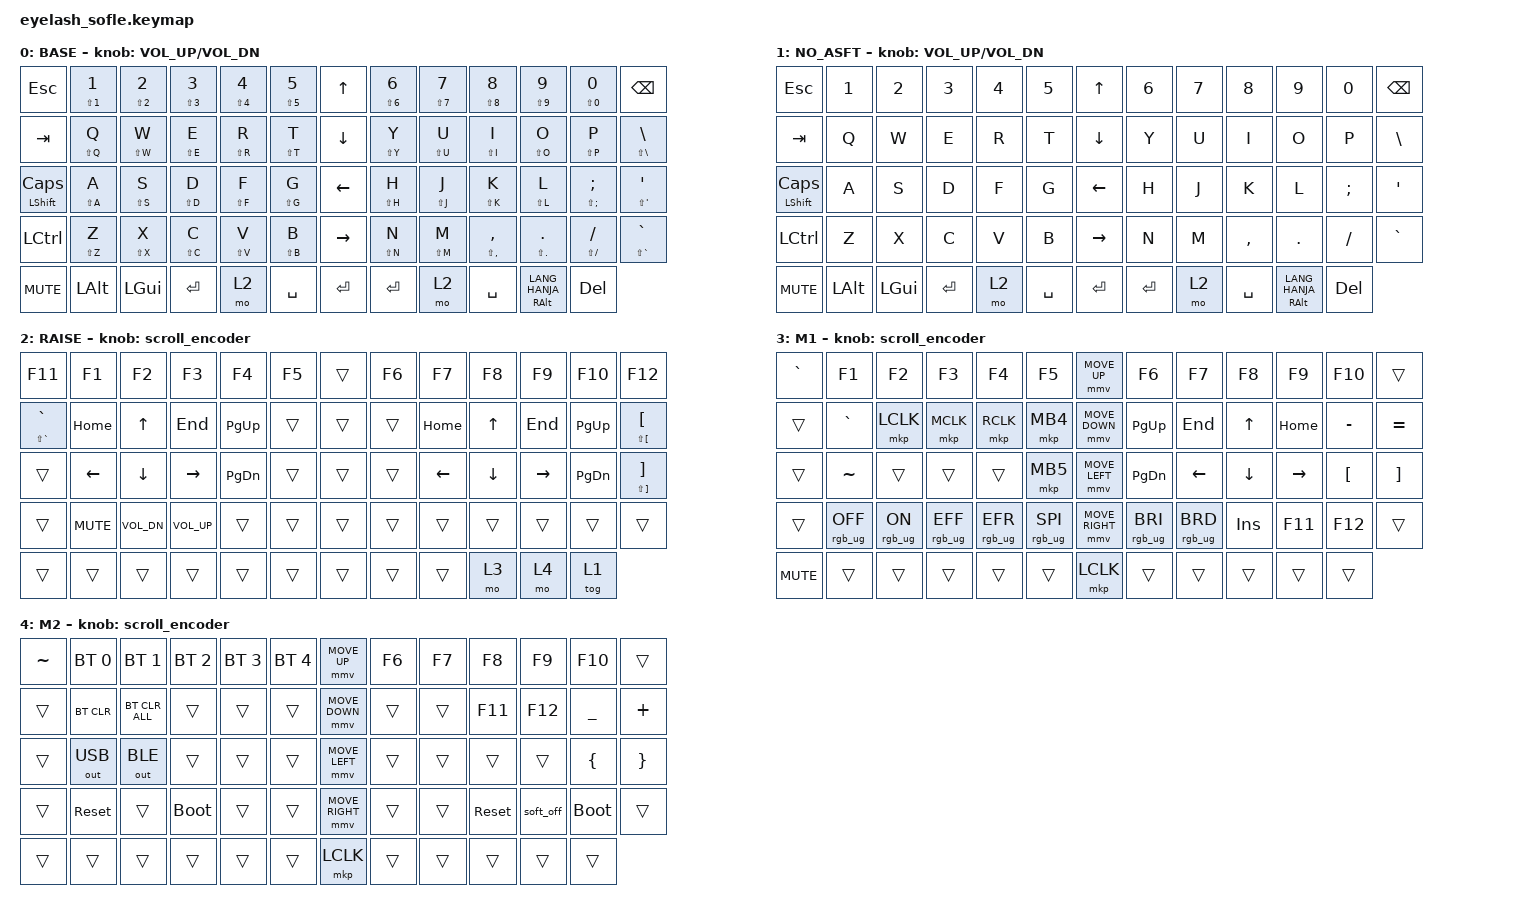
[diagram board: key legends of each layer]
#define ZMK_POINTING_DEFAULT_MOVE_VAL 1200  // 600
#define ZMK_POINTING_DEFAULT_SCRL_VAL 35    // 10

#include <input/processors.dtsi>
#include <zephyr/dt-bindings/input/input-event-codes.h>
#include <behaviors.dtsi>
#include <dt-bindings/zmk/bt.h>
#include <dt-bindings/zmk/keys.h>
#include <dt-bindings/zmk/outputs.h>
#include <dt-bindings/zmk/pointing.h>
#include <dt-bindings/zmk/rgb.h>

/ {
    zip_scroll_scaler: zip_scroll_scaler {
        compatible = "zmk,input-processor-scaler";
        #input-processor-cells = <2>;
        type = <INPUT_EV_REL>;
        codes = <INPUT_REL_WHEEL INPUT_REL_HWHEEL>;
        track-remainders;
    };
};

&mmv_input_listener { input-processors = <&zip_xy_scaler 2 1>; };

&msc_input_listener { input-processors = <&zip_scroll_scaler 2 1>; };

&msc {
    acceleration-exponent = <0>;      // 0
    time-to-max-speed-ms = <0>;       // 300
    delay-ms = <0>;                   // 0
};

&mmv {
    time-to-max-speed-ms = <400>;
    acceleration-exponent = <1>;
};

/ {
    scroll_encoder: scroll_encoder {
        compatible = "zmk,behavior-sensor-rotate";
        #sensor-binding-cells = <0>;
        bindings = <&msc SCRL_DOWN>, <&msc SCRL_UP>;

        tap-ms = <30>;
    };

    TD_CAPS_LSFT: TD_CAPS_LSFT {
        compatible = "zmk,behavior-tap-dance";
        label = "TD_CAPS_LSFT";
        #binding-cells = <0>;
        bindings = <&kp CAPS>, <&kp LSHIFT>;
    };

    HT_AS: HT_AS {
        compatible = "zmk,behavior-hold-tap";
        label = "HT_AS";
        bindings = <&kp>, <&kp>;

        #binding-cells = <2>;
        tapping-term-ms = <200>;
        flavor = "hold-preferred";
    };

    behaviors {
        as: auto_shift {
            compatible = "zmk,behavior-hold-tap";
            #binding-cells = <2>;
            tapping_term_ms = <220>;
            quick_tap_ms = <0>;
            flavor = "tap-preferred";
            bindings = <&kp>, <&kp>;
        };
    };

    combos {
        compatible = "zmk,combos";

        softoff {
            bindings = <&soft_off>;
            key-positions = <14 28 40>;
        };

        CB_ENT {
            bindings = <&kp ENTER>;
            key-positions = <47 48>;
        };

        CB_EQUAL {
            bindings = <&as LS(EQUAL) EQUAL>;
            key-positions = <22 23>;
        };

        CB_MINUS {
            bindings = <&as LS(MINUS) MINUS>;
            key-positions = <35 36>;
        };

        CB_SCRIPTLET_O {
            bindings = <&MC_SCRIPTLET_O>;
            key-positions = <48 50>;
        };

        CB_SCRIPTLET_C {
            bindings = <&MC_SCRIPTLET_C>;
            key-positions = <49 50>;
        };

        CB_LANG {
            bindings = <&as LANG_HANJA RALT>;
            key-positions = <29 30>;
            timeout-ms = <60>;
        };

        CB_BKSP {
            bindings = <&kp BACKSPACE>;
            key-positions = <34 35>;
        };

        CB_DEL {
            bindings = <&kp DEL>;
            key-positions = <21 22>;
        };
    };

    macros {
        MC_SCRIPTLET_O: MC_SCRIPTLET_O {
            compatible = "zmk,behavior-macro";
            #binding-cells = <0>;
            bindings = <&kp LT &kp PRCNT>;
            label = "MC_SCRIPTLET_O";
        };

        MC_SCRIPTLET_C: MC_SCRIPTLET_C {
            compatible = "zmk,behavior-macro";
            #binding-cells = <0>;
            bindings = <&kp PRCNT &kp GT>;
            label = "MC_SCRIPTLET_C";
        };
    };

    keymap {
        compatible = "zmk,keymap";

        BASE {
            bindings = <
&kp ESC             &as LS(N1) N1  &as LS(N2) N2  &as LS(N3) N3  &as LS(N4) N4  &as LS(N5) N5    &kp UP_ARROW     &as LS(N6) N6  &as LS(N7) N7  &as LS(N8) N8        &as LS(N9) N9           &as LS(N0) N0      &kp BACKSPACE
&kp TAB             &as LS(Q) Q    &as LS(W) W    &as LS(E) E    &as LS(R) R    &as LS(T) T      &kp DOWN_ARROW   &as LS(Y) Y    &as LS(U) U    &as LS(I) I          &as LS(O) O             &as LS(P) P        &as LS(BSLH) BSLH
&HT_AS LSHIFT CAPS  &as LS(A) A    &as LS(S) S    &as LS(D) D    &as LS(F) F    &as LS(G) G      &kp LEFT_ARROW   &as LS(H) H    &as LS(J) J    &as LS(K) K          &as LS(L) L             &as LS(SEMI) SEMI  &as LS(APOS) APOS
&kp LCTRL           &as LS(Z) Z    &as LS(X) X    &as LS(C) C    &as LS(V) V    &as LS(B) B      &kp RIGHT_ARROW  &as LS(N) N    &as LS(M) M    &as LS(COMMA) COMMA  &as LS(DOT) DOT         &as LS(FSLH) FSLH  &as LS(GRAVE) GRAVE
&kp C_MUTE          &kp LALT       &kp LEFT_GUI   &kp ENTER      &mo 2          &kp SPACE        &kp ENTER        &kp ENTER      &mo 2          &kp SPACE            &HT_AS RALT LANG_HANJA  &kp DEL
            >;

            sensor-bindings = <&inc_dec_kp C_VOLUME_UP C_VOL_DN>;
            display-name = "BASE";
        };

        NO_ASFT {
            bindings = <
&kp ESC             &kp N1    &kp N2        &kp N3     &kp N4  &kp N5       &kp UP_ARROW     &kp N6     &kp N7  &kp N8     &kp N9                  &kp N0    &kp BACKSPACE
&kp TAB             &kp Q     &kp W         &kp E      &kp R   &kp T        &kp DOWN_ARROW   &kp Y      &kp U   &kp I      &kp O                   &kp P     &kp BSLH
&HT_AS LSHIFT CAPS  &kp A     &kp S         &kp D      &kp F   &kp G        &kp LEFT_ARROW   &kp H      &kp J   &kp K      &kp L                   &kp SEMI  &kp APOS
&kp LCTRL           &kp Z     &kp X         &kp C      &kp V   &kp B        &kp RIGHT_ARROW  &kp N      &kp M   &kp COMMA  &kp DOT                 &kp FSLH  &kp GRAVE
&kp C_MUTE          &kp LALT  &kp LEFT_GUI  &kp ENTER  &mo 2   &kp SPACE    &kp ENTER        &kp ENTER  &mo 2   &kp SPACE  &HT_AS RALT LANG_HANJA  &kp DEL
            >;

            sensor-bindings = <&inc_dec_kp C_VOLUME_UP C_VOL_DN>;
            display-name = "NO_ASFT";
        };

        RAISE {
            bindings = <
&kp F11              &kp F1          &kp F2          &kp F3           &kp F4     &kp F5    &trans  &kp F6  &kp F7    &kp F8    &kp F9     &kp F10      &kp F12
&as LS(GRAVE) GRAVE  &kp HOME        &kp UP_ARROW    &kp END          &kp PG_UP  &trans    &trans  &trans  &kp HOME  &kp UP    &kp END    &kp PAGE_UP  &as LS(LEFT_BRACKET) LEFT_BRACKET
&trans               &kp LEFT_ARROW  &kp DOWN_ARROW  &kp RIGHT_ARROW  &kp PG_DN  &trans    &trans  &trans  &kp LEFT  &kp DOWN  &kp RIGHT  &kp PG_DN    &as LS(RIGHT_BRACKET) RIGHT_BRACKET
&trans               &kp C_MUTE      &kp C_VOL_DN    &kp C_VOL_UP     &trans     &trans    &trans  &trans  &trans    &trans    &trans     &trans       &trans
&trans               &trans          &trans          &trans           &trans     &trans    &trans  &trans  &trans    &mo 3     &mo 4      &tog 1
            >;

            display-name = "RAISE";
            sensor-bindings = <&scroll_encoder>;
        };

        M1 {
            bindings = <
&kp GRAVE   &kp F1           &kp F2          &kp F3           &kp F4           &kp F5             &mmv MOVE_UP     &kp F6           &kp F7           &kp F8      &kp F9     &kp F10           &trans
&trans      &kp GRAVE        &mkp LCLK       &mkp MCLK        &mkp RCLK        &mkp MB4           &mmv MOVE_DOWN   &kp PG_UP        &kp END          &kp UP      &kp HOME   &kp MINUS         &kp EQUAL
&trans      &kp TILDE        &trans          &trans           &trans           &mkp MB5           &mmv MOVE_LEFT   &kp PG_DN        &kp LEFT         &kp DOWN    &kp RIGHT  &kp LEFT_BRACKET  &kp RIGHT_BRACKET
&trans      &rgb_ug RGB_OFF  &rgb_ug RGB_ON  &rgb_ug RGB_EFF  &rgb_ug RGB_EFR  &rgb_ug RGB_SPI    &mmv MOVE_RIGHT  &rgb_ug RGB_BRI  &rgb_ug RGB_BRD  &kp INSERT  &kp F11    &kp F12           &trans
&kp C_MUTE  &trans           &trans          &trans           &trans           &trans             &mkp LCLK        &trans           &trans           &trans      &trans     &trans
            >;

            display-name = "M1";
            sensor-bindings = <&scroll_encoder>;
        };

        M2 {
            bindings = <
&kp TILDE  &bt BT_SEL 0  &bt BT_SEL 1    &bt BT_SEL 2  &bt BT_SEL 3  &bt BT_SEL 4    &mmv MOVE_UP     &kp F6  &kp F7  &kp F8      &kp F9     &kp F10      &trans
&trans     &bt BT_CLR    &bt BT_CLR_ALL  &trans        &trans        &trans          &mmv MOVE_DOWN   &trans  &trans  &kp F11     &kp F12    &kp UNDER    &kp PLUS
&trans     &out OUT_USB  &out OUT_BLE    &trans        &trans        &trans          &mmv MOVE_LEFT   &trans  &trans  &trans      &trans     &kp LBRC     &kp RBRC
&trans     &sys_reset    &trans          &bootloader   &trans        &trans          &mmv MOVE_RIGHT  &trans  &trans  &sys_reset  &soft_off  &bootloader  &trans
&trans     &trans        &trans          &trans        &trans        &trans          &mkp LCLK        &trans  &trans  &trans      &trans     &trans
            >;

            display-name = "M2";
            sensor-bindings = <&scroll_encoder>;
        };
    };
};
